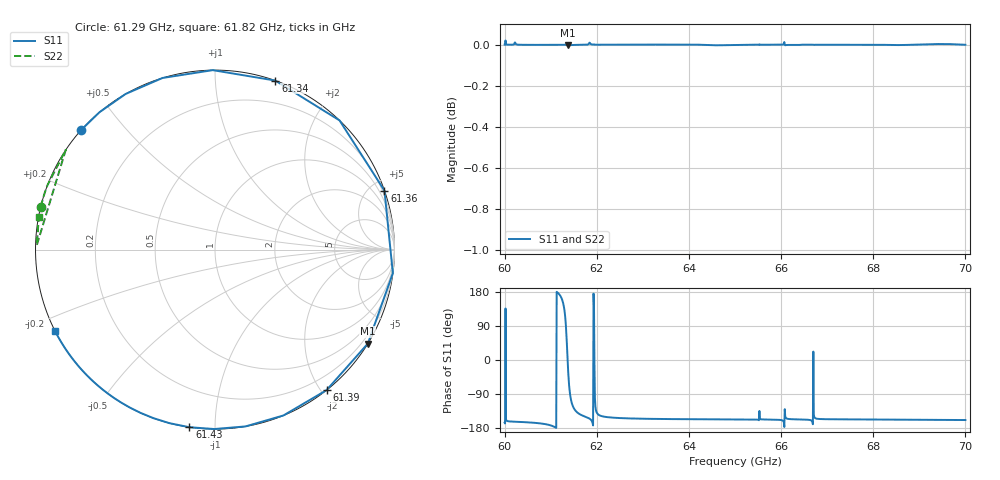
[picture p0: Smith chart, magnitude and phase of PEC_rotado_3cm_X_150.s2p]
! TOUCHSTONE file generated by CST MICROWAVE STUDIO
! Date and time: Sat Feb 17 15:53:14 2024
! Project name: metal_rotado.cst
! Parameters = {PX=1.5; angX=2; angY=2}
! Header version: 2018
! Port assignment regex: !\s*Touchstone port\s*([0-9]+)\s*=\s*(CST MWS port|CST DS port)\s*([0-9]+|Zmin|Zmax)\s*\(\"(.*)\"\)(\s*mode\s*([0-9]+))?.*
! Touchstone port assignment:
! Touchstone port 1 = CST MWS port 1 ("")
! Touchstone port 2 = CST MWS port 2 ("")
# GHz S MA R 376.7
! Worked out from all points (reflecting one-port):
!   1001 points, 60 GHz to 70 GHz, reference 376.7 ohm
!   lowest |S11| = 0.0 dB at 61.38 GHz (marker M1)
!   phase of S11 starts at -165 deg and turns -1073 deg over the sweep
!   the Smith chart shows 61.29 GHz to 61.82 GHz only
!   S11 on the Smith chart (normalised r, x): 61.29 GHz: -0.00, +0.38; 61.34 GHz: 0.00, +1.42; 61.36 GHz: 0.01, +5.92; 61.39 GHz: 0.00, -2.07; 61.43 GHz: 0.00, -0.87; 61.82 GHz: -0.00, -0.24
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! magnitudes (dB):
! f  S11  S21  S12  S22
! 60 GHz  0.0  -  -  0.0
! 60.38 GHz  0.0  -  -  0.0
! 61.29 GHz  0.0  -  -  0.0
! 61.34 GHz  0.0  -  -  0.0
! 61.36 GHz  0.0  -  -  0.0
! 61.38 GHz  0.0  -  -  0.0
! 61.39 GHz  0.0  -  -  0.0
! 61.43 GHz  0.0  -  -  0.0
! 61.67 GHz  0.0  -  -  0.0
! 61.82 GHz  0.0  -  -  0.0
! 63.34 GHz  0.0  -  -  0.0
! 65 GHz  0.0  -  -  0.0
! 65.26 GHz  0.0  -  -  0.0
! 65.39 GHz  0.0  -  -  -0.1
! 65.49 GHz  0.0  -  -  0.0
! 65.53 GHz  0.0  -  -  0.0
! 65.83 GHz  0.0  -  -  0.0
! 65.94 GHz  0.0  -  -  0.0
! 66.09 GHz  0.0  -  -  0.0
! 66.67 GHz  0.0  -  -  0.0
! 68.34 GHz  0.0  -  -  0.0
! 70 GHz  0.0  -  -  0.0
